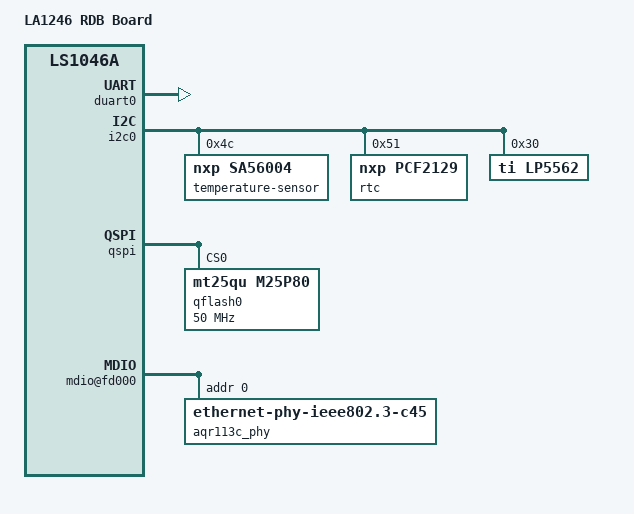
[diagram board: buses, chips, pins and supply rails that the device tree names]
// SPDX-License-Identifier: (GPL-2.0+ OR MIT)
/*
 * Device Tree Include file for Freescale Layerscape-1046A family SoC.
 *
 * Copyright 2019-2022 NXP
 *
 * Parth Girishkumar Bera <parthgirishkumar.bera@nxp.com>
 */

/dts-v1/;

#include "fsl-ls1046a.dtsi"

/ {
	model = "LA1246 RDB  Board";
	compatible = "fsl,ls1046a-rdb", "fsl,ls1046a";

	aliases {
		serial0 = &duart0;
	};

	chosen {
		stdout-path = "serial0:115200n8";
	};
};

&duart0 {
	status = "okay";
};

&esdhc {
	mmc-hs200-1_8v;
	sd-uhs-sdr104;
	sd-uhs-sdr50;
	sd-uhs-sdr25;
	sd-uhs-sdr12;
};

&i2c0 {

	status = "okay";
	
	temperature-sensor@4c {
		compatible = "nxp,sa56004";
		reg = <0x4c>;
	};

	rtc@51 {
		compatible = "nxp,pcf2129";
		reg = <0x51>;
	};
	
	lp5562@30 {
		compatible = "ti,lp5562";
		reg = <0x30>;
		clock-mode = /bits/8 <2>;
	
		chan0 {
			chan-name = "R";
			led-cur = /bits/ 8 <0x20>;
			max-cur = /bits/ 8 <0x60>;
		};
	
		chan1 {
			chan-name = "G";
			led-cur = /bits/ 8 <0x20>;
			max-cur = /bits/ 8 <0x60>;
		};
	
		chan2 {
			chan-name = "B";
			led-cur = /bits/ 8 <0x20>;
			max-cur = /bits/ 8 <0x60>;
		};
	};
};


&ifc {
	#address-cells = <2>;
	#size-cells = <1>;
	/* NAND Flashe */
	ranges = <0x0 0x0 0x0 0x7e800000 0x00010000
		  0x2 0x0 0x0 0x7fb00000 0x00000100>;
	status = "disabled";

	nand@0,0 {
		compatible = "fsl,ifc-nand";
		#address-cells = <1>;
		#size-cells = <1>;
		reg = <0x0 0x0 0x10000>;
	};

};

&qspi {
	num-cs = <1>;
	bus-num = <0>;
	status = "okay";
	fsl,qspi-has-second-chip;

	qflash0: mt25qu512a@0 {
		compatible = "mt25qu,m25p80";
		#address-cells = <1>;
		#size-cells = <1>;
		spi-max-frequency = <50000000>;
		reg = <0>;
		spi-rx-bus-width = <4>;
		spi-tx-bus-width = <4>;
	};
};

#include "fsl-ls1046-post.dtsi"

&fman0 {
	ethernet@f0000 {
		phy-handle = <&aqr113c_phy>;
		phy-connection-type = "xgmii";
	};

	mdio@fd000 {
		aqr113c_phy: ethernet-phy@0 {
			compatible = "ethernet-phy-ieee802.3-c45";
/*			interrupts = <0 133 4>;
*/			reg = <0x0>;
		};
	};
};
